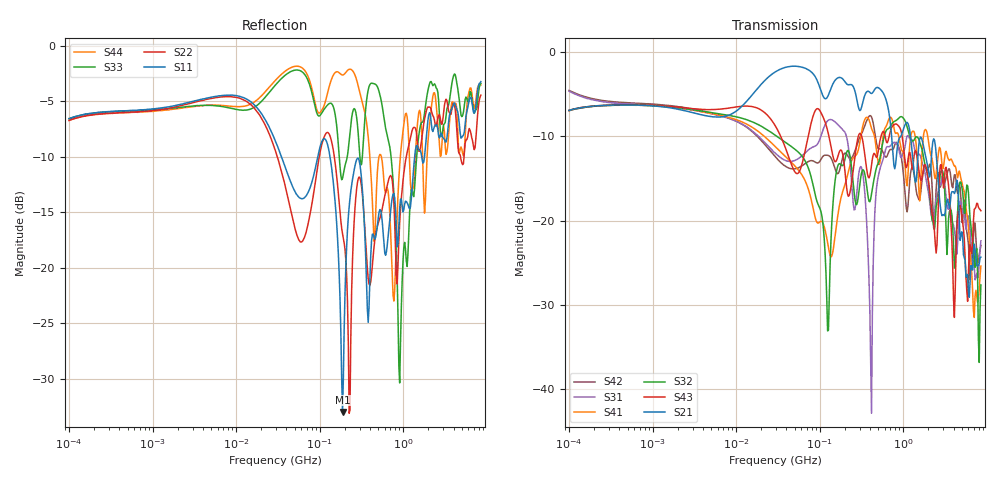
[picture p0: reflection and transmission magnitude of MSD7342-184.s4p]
# MHz S MA R 50
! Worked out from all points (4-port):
!   498 points, 100 kHz to 8.5 GHz, reference 50 ohm
!   strongest paths, dB at 100 kHz, 1.698 MHz, 29.49 MHz, 500.7 MHz, 8.5 GHz:
!     S21: -6.9, -6.6, -2.3, -4.2, -24.3
!     S43: -6.9, -6.5, -8.8, -11.8, -18.8
!     S32: -6.9, -6.5, -9.9, -13.2, -27.6
!     S41: -6.9, -6.5, -11.2, -13.0, -25.4
!     S31: -4.6, -6.5, -12.0, -14.8, -22.4
!     S42: -4.5, -6.4, -12.4, -11.4, -23.0
!   lowest |S11| = -33.0 dB at 187.5 MHz (marker M1), VSWR 1.05, Z = 51.8 - j1.39 ohm
!   |S11| at or under -10 dB: 34.75 MHz to 94.77 MHz (60.02 MHz wide, 92.7 % of centre); 132.8 MHz to 1.371 GHz (1.238 GHz wide, 165 % of centre); 1.662 GHz to 1.799 GHz (136.2 MHz wide, 7.87 % of centre)
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0.1  0.4687 21.7  0.4517 22.0  0.5868 -17.7  0.4497 -158.6
     0.4517 22.0  0.4606 21.7  0.4502 -158.7  0.5935 -17.3
     0.5868 -17.7  0.4502 -158.7  0.4693 21.8  0.4519 21.9
     0.4497 -158.6  0.5935 -17.3  0.4519 21.9  0.4599 21.7
116.0832  0.3792 -45.1  0.5293 -27.4  0.3711 59.6  0.08777 -70.6
          0.5293 -27.4  0.3965 -31.3  0.06351 -45.7  0.2445 64.3
          0.3711 59.6  0.06351 -45.7  0.5238 -33.8  0.3844 -42.4
          0.08777 -70.6  0.2445 64.3  0.3844 -42.4  0.5543 -17.0
187.5231  0.02236 -36.8  0.6955 -41.5  0.3473 -17.1  0.1475 81.5
          0.6955 -41.5  0.1422 -100.1  0.2118 7.7  0.2348 35.7
          0.3473 -17.1  0.2118 7.7  0.2521 -41.4  0.2504 -51.5
          0.1475 81.5  0.2348 35.7  0.2504 -51.5  0.7377 -45.7
407.6417  0.1123 -29.1  0.5714 -75.7  0.01418 -92.5  0.367 -33.0
          0.5714 -75.7  0.08607 98.9  0.1345 -22.5  0.4196 -47.0
          0.01418 -92.5  0.1345 -22.5  0.6752 -65.7  0.1966 -44.6
          0.367 -33.0  0.4196 -47.0  0.1966 -44.6  0.276 -138.6
906.6107  0.1855 -87.8  0.3113 -142.7  0.2498 -119.0  0.2969 -137.3
          0.3113 -142.7  0.1598 -46.4  0.4106 -122.1  0.2633 -154.6
          0.2498 -119.0  0.4106 -122.1  0.03026 1.9  0.3571 -145.3
          0.2969 -137.3  0.2633 -154.6  0.3571 -145.3  0.2893 -50.4
2209.207  0.4189 74.1  0.2664 52.7  0.1049 37.1  0.2329 37.1
          0.2664 52.7  0.4971 73.2  0.1006 17.9  0.164 11.6
          0.1049 37.1  0.1006 17.9  0.6732 76.2  0.1103 30.0
          0.2329 37.1  0.164 11.6  0.1103 30.0  0.5554 83.4
8500  0.6884 -57.7  0.06066 42.3  0.07577 7.2  0.05365 -3.2
      0.06066 42.3  0.5986 -64.1  0.04147 -11.6  0.0712 -64.5
      0.07577 7.2  0.04147 -11.6  0.675 -65.8  0.1143 30.4
      0.05365 -3.2  0.0712 -64.5  0.1143 30.4  0.6644 -82.7
